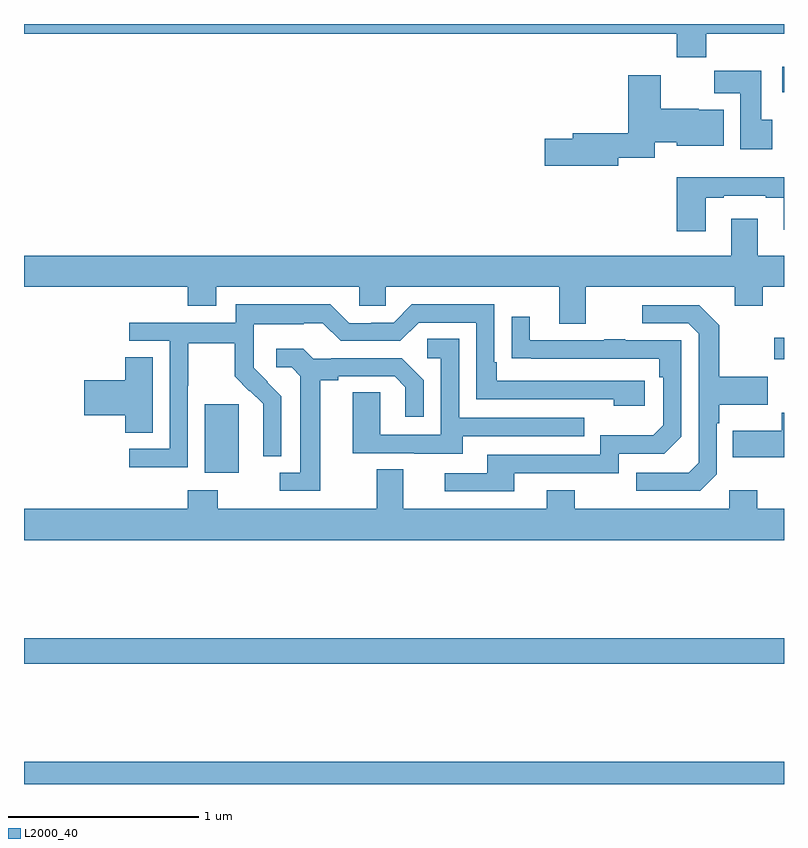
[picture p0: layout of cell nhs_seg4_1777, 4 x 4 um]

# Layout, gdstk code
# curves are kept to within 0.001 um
import gdstk
lib = gdstk.Library(unit=1e-6, precision=1e-09)
def R(c, l, rs):  # rectangles x0, y0, x1, y1
    for r in rs: c.add(gdstk.rectangle(r[:2], r[2:], *l))
def P(c, l, *ps):  # polygons
    for p in ps: c.add(gdstk.Polygon(p, *l))
L2000_40 = (2000, 40)

nhs_seg4_1777 = lib.new_cell('nhs_seg4_1777')
R(nhs_seg4_1777, L2000_40, [(203,764.9,207,765.016), (203,765.532,207,765.668), (203.951,766.538,204.13,766.899), (206.949,767.135,207,767.248), (206.991,768.542,207,768.676)])
P(nhs_seg4_1777, L2000_40, [(206.591,768.848),(207,768.848),(207,768.9),(203,768.9),(203,768.848),(206.435,768.848),(206.435,768.724),(206.591,768.724)],
  [(206.938,768.396),(206.881,768.396),(206.881,768.655),(206.632,768.655),(206.632,768.536),(206.771,768.536),(206.771,768.24),(206.938,768.24)],
  [(206.128,768.196),(206.32,768.196),(206.32,768.278),(206.436,768.278),(206.436,768.26),(206.683,768.26),(206.683,768.448),(206.55,768.448),(206.55,768.454),(206.35,768.454),(206.35,768.631),(206.18,768.631),(206.18,768.326),(205.889,768.326),(205.889,768.296),(205.74,768.296),(205.74,768.154),(206.128,768.154)],
  [(206.587,767.985),(206.683,767.985),(206.683,767.997),(206.903,767.997),(206.903,767.985),(206.999,767.985),(206.999,767.816),(207,767.816),(207,768.094),(206.435,768.094),(206.435,767.808),(206.587,767.808)],
  [(203,767.516),(203.861,767.516),(203.861,767.417),(204.013,767.417),(204.013,767.516),(204.765,767.516),(204.765,767.418),(204.903,767.418),(204.903,767.516),(205.817,767.516),(205.817,767.322),(205.957,767.322),(205.957,767.516),(206.741,767.516),(206.741,767.417),(206.889,767.417),(206.889,767.516),(207,767.516),(207,767.68),(206.863,767.68),(206.863,767.875),(206.723,767.875),(206.723,767.68),(203,767.68)],
  [(203.862,766.996),(203.865,766.996),(203.865,767.22),(204.109,767.22),(204.109,767.045),(204.186,766.968),(204.189,766.971),(204.26,766.901),(204.26,766.778),(204.258,766.778),(204.258,766.624),(204.354,766.624),(204.354,766.942),(204.208,767.09),(204.208,767.187),(204.21,767.187),(204.21,767.321),(204.473,767.321),(204.473,767.325),(204.573,767.325),(204.666,767.232),(204.981,767.232),(205.077,767.328),(205.38,767.328),(205.38,766.926),(206.105,766.926),(206.105,766.892),(206.266,766.892),(206.266,767.022),(205.489,767.022),(205.489,767.119),(205.476,767.119),(205.476,767.424),(205.041,767.424),(204.945,767.328),(204.827,767.328),(204.827,767.325),(204.711,767.325),(204.611,767.425),(204.114,767.425),(204.114,767.328),(203.553,767.328),(203.553,767.232),(203.766,767.232),(203.766,766.665),(203.553,766.665),(203.553,766.567),(203.862,766.567)],
  [(206.646,766.53),(206.646,766.799),(206.659,766.799),(206.659,766.895),(206.915,766.895),(206.915,767.043),(206.659,767.043),(206.659,767.315),(206.553,767.421),(206.253,767.421),(206.253,767.325),(206.496,767.325),(206.55,767.271),(206.55,766.59),(206.499,766.539),(206.223,766.539),(206.223,766.443),(206.559,766.443)],
  [(205.579,766.536),(206.13,766.536),(206.13,766.638),(206.37,766.638),(206.46,766.728),(206.46,767.235),(206.165,767.235),(206.165,767.24),(206.053,767.24),(206.053,767.235),(205.663,767.235),(205.663,767.359),(205.567,767.359),(205.567,767.14),(206.344,767.139),(206.344,767.042),(206.364,767.042),(206.364,766.788),(206.311,766.735),(206.034,766.735),(206.034,766.632),(205.439,766.632),(205.439,766.536),(205.215,766.536),(205.215,766.44),(205.579,766.44)],
  [(205.309,766.731),(205.949,766.731),(205.949,766.827),(205.29,766.827),(205.29,767.243),(205.122,767.243),(205.122,767.142),(205.194,767.142),(205.194,766.737),(204.876,766.737),(204.876,766.961),(204.731,766.961),(204.731,766.641),(205.055,766.641),(205.055,766.637),(205.309,766.637)],
  [(204.559,767.024),(204.655,767.024),(204.655,767.046),(204.95,767.046),(205.007,766.989),(205.007,766.833),(205.104,766.833),(205.104,767.026),(204.988,767.142),(204.616,767.142),(204.616,767.139),(204.522,767.139),(204.47,767.191),(204.327,767.191),(204.327,767.094),(204.408,767.094),(204.455,767.047),(204.455,766.539),(204.345,766.539),(204.345,766.443),(204.559,766.443)],
  [(203.677,767.147),(203.534,767.147),(203.534,767.024),(203.316,767.024),(203.316,766.841),(203.534,766.841),(203.534,766.75),(203.677,766.75)],
  [(207,766.855),(206.988,766.855),(206.988,766.759),(206.731,766.759),(206.731,766.619),(207,766.619)],
  [(207,766.348),(206.859,766.348),(206.859,766.447),(206.712,766.447),(206.712,766.348),(205.899,766.348),(205.899,766.447),(205.751,766.447),(205.751,766.348),(204.997,766.348),(204.997,766.556),(204.857,766.556),(204.857,766.348),(204.021,766.348),(204.021,766.447),(203.861,766.447),(203.861,766.348),(203,766.348),(203,766.184),(207,766.184)])

lib.write_gds('nhs_seg4_1777.gds')
